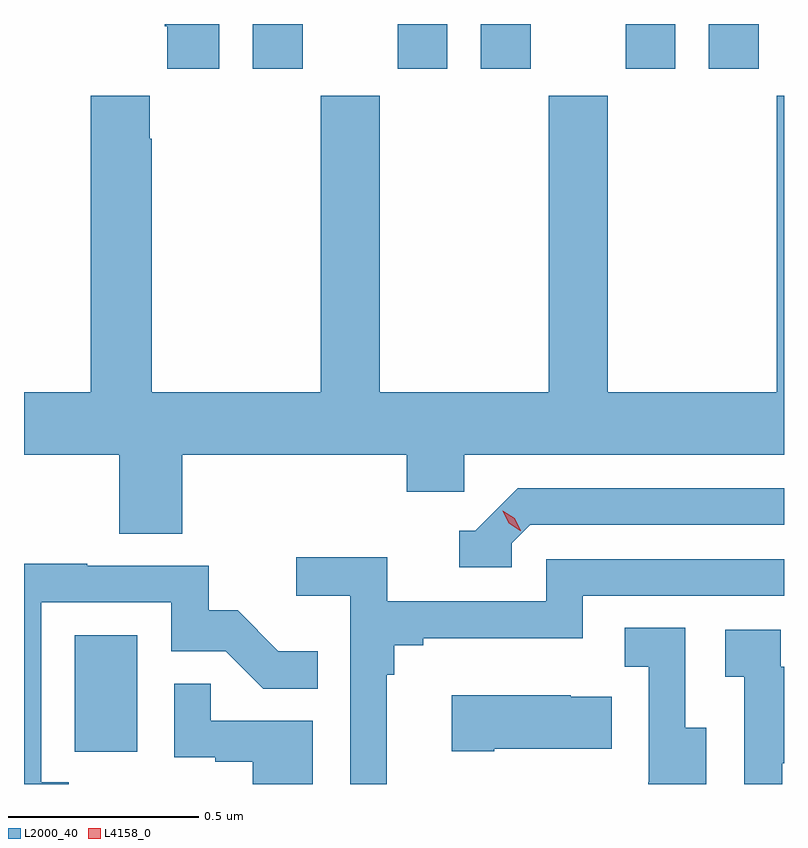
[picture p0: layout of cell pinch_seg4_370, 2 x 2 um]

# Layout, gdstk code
import gdstk
lib = gdstk.Library(unit=1e-6, precision=1e-09)
def R(c, l, rs):  # rectangles x0, y0, x1, y1
    for r in rs: c.add(gdstk.rectangle(r[:2], r[2:], *l))
def P(c, l, *ps):  # polygons
    for p in ps: c.add(gdstk.Polygon(p, *l))
L2000_40 = (2000, 40)
L4158_0 = (4158, 0)

pinch_seg4_370 = lib.new_cell('pinch_seg4_370')
R(pinch_seg4_370, L2000_40, [(975.842,793.374,976.006,793.681), (976.31,795.171,976.441,795.289), (976.691,795.171,976.822,795.289), (976.91,795.171,977.041,795.289), (977.291,795.171,977.422,795.289), (977.51,795.171,977.641,795.289)])
P(pinch_seg4_370, L2000_40, [(976.222,795.289),(976.079,795.289),(976.079,795.283),(976.085,795.283),(976.085,795.171),(976.222,795.171)],
  [(976.124,794.156),(976.715,794.156),(976.715,794.058),(976.866,794.058),(976.866,794.156),(977.708,794.156),(977.708,795.1),(977.689,795.1),(977.689,794.32),(977.244,794.32),(977.244,795.1),(977.089,795.1),(977.089,794.32),(976.644,794.32),(976.644,795.1),(976.489,795.1),(976.489,794.32),(976.044,794.32),(976.044,794.987),(976.039,794.987),(976.039,795.1),(975.884,795.1),(975.884,794.32),(975.708,794.32),(975.708,794.156),(975.959,794.156),(975.959,793.948),(976.124,793.948)],
  [(976.992,793.923),(977.04,793.971),(977.708,793.971),(977.708,794.067),(977.007,794.067),(976.896,793.956),(976.853,793.956),(976.853,793.86),(976.992,793.86)],
  [(976.663,793.577),(976.682,793.577),(976.682,793.654),(976.759,793.654),(976.759,793.673),(977.178,793.673),(977.178,793.785),(977.708,793.785),(977.708,793.881),(977.082,793.881),(977.082,793.77),(976.664,793.77),(976.664,793.886),(976.425,793.886),(976.425,793.784),(976.566,793.784),(976.566,793.289),(976.663,793.289)],
  [(975.826,793.293),(975.753,793.293),(975.753,793.767),(976.095,793.767),(976.095,793.638),(976.239,793.638),(976.337,793.54),(976.481,793.54),(976.481,793.639),(976.377,793.639),(976.27,793.746),(976.194,793.746),(976.194,793.863),(975.875,793.863),(975.875,793.868),(975.708,793.868),(975.708,793.289),(975.826,793.289)],
  [(977.503,793.437),(977.448,793.437),(977.448,793.7),(977.289,793.7),(977.289,793.597),(977.352,793.597),(977.352,793.293),(977.351,793.293),(977.351,793.289),(977.503,793.289)],
  [(977.703,793.343),(977.708,793.343),(977.708,793.597),(977.7,793.597),(977.7,793.695),(977.553,793.695),(977.553,793.571),(977.604,793.571),(977.604,793.289),(977.703,793.289)],
  [(976.468,793.455),(976.199,793.455),(976.199,793.553),(976.104,793.553),(976.104,793.359),(976.211,793.359),(976.211,793.347),(976.31,793.347),(976.31,793.289),(976.468,793.289)],
  [(976.945,793.382),(977.255,793.382),(977.255,793.519),(977.147,793.519),(977.147,793.522),(976.833,793.522),(976.833,793.375),(976.945,793.375)])
P(pinch_seg4_370, L4158_0, [(977.014,793.955),(976.984,793.975),(976.968,794.008),(976.968,794.008),(976.968,794.008),(976.999,793.988),(977.015,793.956),(977.015,793.955)])

lib.write_gds('pinch_seg4_370.gds')
